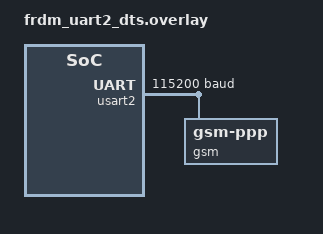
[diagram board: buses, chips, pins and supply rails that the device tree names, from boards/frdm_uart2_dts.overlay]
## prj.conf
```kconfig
# Copyright (c) 2021 Nordic Semiconductor ASA
# SPDX-License-Identifier: Apache-2.0
#
# This file contains selected Kconfig options for the application.

CONFIG_CONSOLE=y
CONFIG_I2C=y
CONFIG_GPIO=y
#CONFIG_ADC=y
CONFIG_SENSOR=y
#CONFIG_VL53L0X_PROXIMITY_THRESHOLD=100
CONFIG_CBPRINTF_FP_SUPPORT=y
#CONFIG_MPU6050_TRIGGER_NONE=y

# UART support
#CONFIG_SERIAL=y

## GSM modem support
#CONFIG_MODEM=y
#CONFIG_MODEM_GSM_PPP=y
#
### PPP networking support
#CONFIG_NET_DRIVERS=y
#CONFIG_NET_PPP=y
#CONFIG_NET_L2_PPP=y
#CONFIG_NET_NATIVE=y
#CONFIG_NETWORKING=y
#
#CONFIG_NET_L2_PPP_TIMEOUT=10000
#
### IPv4 enables PPP IPCP support
#CONFIG_NET_IPV4=y
#CONFIG_NET_IPV6=n
#
### Network management events
#CONFIG_NET_CONNECTION_MANAGER=y
#
### Log buffers, modem and PPP
#CONFIG_LOG=y
#CONFIG_NET_LOG=y
##CONFIG_LOG_BUFFER_SIZE=16384
##CONFIG_MODEM_LOG_LEVEL_DBG=y
##CONFIG_NET_PPP_LOG_LEVEL_DBG=y
##CONFIG_NET_L2_PPP_LOG_LEVEL_DBG=y
##CONFIG_NET_MGMT_EVENT_LOG_LEVEL_DBG=y
##CONFIG_NET_CONNECTION_MANAGER_LOG_LEVEL_DBG=y
#
#CONFIG_NET_SHELL=y
#CONFIG_MODEM_SHELL=y
#
#CONFIG_TEST_RANDOM_GENERATOR=y
#CONFIG_GSM_MUX=y
#CONFIG_UART_MUX=y

# LORA support
CONFIG_SPI=y
CONFIG_LORA=y
CONFIG_LORA_SX12XX=y
CONFIG_PRINTK=y
```

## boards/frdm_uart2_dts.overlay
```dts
/*
 * UART 2 is configured on FRDM pins PTD0, rts; PTD1, cts; PTD2, rx; PTD3, tx
 * see https://www.nxp.com/docs/en/data-sheet/K64P144M120SF5.pdf chapter 5.1,
 * page 74
 */
&usart2 {
	status = "okay";
	current-speed = <115200>;
	gsm: gsm-modem {
		compatible = "zephyr,gsm-ppp";
	};
};
```

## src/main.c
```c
lora_send.c
```

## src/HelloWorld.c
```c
/*
 * Copyright (c) 2016 Intel Corporation
 *
 * SPDX-License-Identifier: Apache-2.0
 */

#include <zephyr/kernel.h>
#include <zephyr/drivers/gpio.h>

/* 1000 msec = 1 sec */
#define SLEEP_TIME_MS   100

/* The devicetree node identifier for the "led0" alias. */
#define LED0_NODE DT_ALIAS(led0)

/*
 * A build error on this line means your board is unsupported.
 * See the sample documentation for information on how to fix this.
 */
static const struct gpio_dt_spec led = GPIO_DT_SPEC_GET(LED0_NODE, gpios);

void main(void)
{
	int ret;
	int i;
	i = 0;

	if (!device_is_ready(led.port)) {
		return;
	}

	ret = gpio_pin_configure_dt(&led, GPIO_OUTPUT_ACTIVE);
	if (ret < 0) {
		return;
	}

	while (1) {
		ret = gpio_pin_toggle_dt(&led);
		if (ret < 0) {
			return;
		}
		printk("Hello %d \n", i++);
		k_msleep(SLEEP_TIME_MS);
	}
}
```

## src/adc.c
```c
/*
 * Copyright (c) 2020 Libre Solar Technologies GmbH
 *
 * SPDX-License-Identifier: Apache-2.0
 */

#include <inttypes.h>
#include <stddef.h>
#include <stdint.h>

#include <zephyr/device.h>
#include <zephyr/devicetree.h>
#include <zephyr/drivers/adc.h>
#include <zephyr/kernel.h>
#include <zephyr/sys/printk.h>
#include <zephyr/sys/util.h>


#if !DT_NODE_EXISTS(DT_PATH(zephyr_user)) || \
	!DT_NODE_HAS_PROP(DT_PATH(zephyr_user), io_channels)
#error "No suitable devicetree overlay specified"
#endif

#define DT_SPEC_AND_COMMA(node_id, prop, idx) \
	ADC_DT_SPEC_GET_BY_IDX(node_id, idx),

/* Data of ADC io-channels specified in devicetree. */
static const struct adc_dt_spec adc_channels[] = {
	DT_FOREACH_PROP_ELEM(DT_PATH(zephyr_user), io_channels,
			     DT_SPEC_AND_COMMA)
};

void main(void)
{
	int err;
	int16_t buf;
	struct adc_sequence sequence = {
		.buffer = &buf,
		/* buffer size in bytes, not number of samples */
		.buffer_size = sizeof(buf),
	};



	/* Configure channels individually prior to sampling. */
	for (size_t i = 0U; i < ARRAY_SIZE(adc_channels); i++) {
		if (!device_is_ready(adc_channels[i].dev)) {
			printk("ADC controller device not ready\n");
			return;
		}

		err = adc_channel_setup_dt(&adc_channels[i]);
		if (err < 0) {
			printk("Could not setup channel #%d (%d)\n", i, err);
			return;
		}
	}

	while (1) {
		printk("ADC reading:\n");
		for (size_t i = 0U; i < ARRAY_SIZE(adc_channels); i++) {
			int32_t val_mv;

			printk("- %s, channel %d: ",
			       adc_channels[i].dev->name,
			       adc_channels[i].channel_id);

			(void)adc_sequence_init_dt(&adc_channels[i], &sequence);

			err = adc_read(adc_channels[i].dev, &sequence);
			if (err < 0) {
				printk("Could not read (%d)\n", err);
				continue;
			} else {
				printk("%"PRId16, buf);
			}

			/* conversion to mV may not be supported, skip if not */
			val_mv = buf;
			err = adc_raw_to_millivolts_dt(&adc_channels[i],
						       &val_mv);
			if (err < 0) {
				printk(" (value in mV not available)\n");
			} else {
				printk(" = %"PRId32" mV\n", val_mv);
			}
		}

		k_sleep(K_MSEC(100));
	}
}
```

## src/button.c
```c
/*
 * Copyright (c) 2016 Open-RnD Sp. z o.o.
 * Copyright (c) 2020 Nordic Semiconductor ASA
 *
 * SPDX-License-Identifier: Apache-2.0
 */

#include <zephyr/kernel.h>
#include <zephyr/device.h>
#include <zephyr/drivers/gpio.h>
#include <zephyr/sys/util.h>
#include <zephyr/sys/printk.h>
#include <inttypes.h>

#define SLEEP_TIME_MS	1

/*
 * Get button configuration from the devicetree sw0 alias. This is mandatory.
 */
#define SW0_NODE	DT_ALIAS(sw0)
#if !DT_NODE_HAS_STATUS(SW0_NODE, okay)
#error "Unsupported board: sw0 devicetree alias is not defined"
#endif
static const struct gpio_dt_spec button = GPIO_DT_SPEC_GET_OR(SW0_NODE, gpios,
							      {0});
static struct gpio_callback button_cb_data;

/*
 * The led0 devicetree alias is optional. If present, we'll use it
 * to turn on the LED whenever the button is pressed.
 */
static struct gpio_dt_spec led = GPIO_DT_SPEC_GET_OR(DT_ALIAS(led0), gpios,
						     {0});

void button_pressed(const struct device *dev, struct gpio_callback *cb,
		    uint32_t pins)
{
	printk("Button pressed at %" PRIu32 "\n", k_cycle_get_32());
}

void main(void)
{
	int ret;

	if (!gpio_is_ready_dt(&button)) {
		printk("Error: button device %s is not ready\n",
		       button.port->name);
		return;
	}

	ret = gpio_pin_configure_dt(&button, GPIO_INPUT);
	if (ret != 0) {
		printk("Error %d: failed to configure %s pin %d\n",
		       ret, button.port->name, button.pin);
		return;
	}

	ret = gpio_pin_interrupt_configure_dt(&button,
					      GPIO_INT_EDGE_TO_ACTIVE);
	if (ret != 0) {
		printk("Error %d: failed to configure interrupt on %s pin %d\n",
			ret, button.port->name, button.pin);
		return;
	}

	gpio_init_callback(&button_cb_data, button_pressed, BIT(button.pin));
	gpio_add_callback(button.port, &button_cb_data);
	printk("Set up button at %s pin %d\n", button.port->name, button.pin);

	if (led.port && !device_is_ready(led.port)) {
		printk("Error %d: LED device %s is not ready; ignoring it\n",
		       ret, led.port->name);
		led.port = NULL;
	}
	if (led.port) {
		ret = gpio_pin_configure_dt(&led, GPIO_OUTPUT);
		if (ret != 0) {
			printk("Error %d: failed to configure LED device %s pin %d\n",
			       ret, led.port->name, led.pin);
			led.port = NULL;
		} else {
			printk("Set up LED at %s pin %d\n", led.port->name, led.pin);
		}
	}

	printk("Press the button\n");
	if (led.port) {
		while (1) {
			/* If we have an LED, match its state to the button's. */
			int val = gpio_pin_get_dt(&button);
			if (val >= 0) {
				gpio_pin_set_dt(&led, val);
			}
			k_msleep(SLEEP_TIME_MS);
		}
	}
}
```

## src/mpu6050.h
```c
/*
 * Copyright (c) 2019 Nordic Semiconductor ASA
 *
 * SPDX-License-Identifier: Apache-2.0
 */

#include <zephyr/kernel.h>
#include <zephyr/device.h>
#include <zephyr/drivers/sensor.h>
#include <stdio.h>

static const char *now_str(void)
{
	static char buf[16]; /* ...HH:MM:SS.MMM */
	uint32_t now = k_uptime_get_32();
	unsigned int ms = now % MSEC_PER_SEC;
	unsigned int s;
	unsigned int min;
	unsigned int h;

	now /= MSEC_PER_SEC;
	s = now % 60U;
	now /= 60U;
	min = now % 60U;
	now /= 60U;
	h = now;

	snprintf(buf, sizeof(buf), "%u:%02u:%02u.%03u",
		 h, min, s, ms);
	return buf;
}

static int process_mpu6050(const struct device *dev)
{
	struct sensor_value temperature;
	struct sensor_value accel[3];
	struct sensor_value gyro[3];
	int rc = sensor_sample_fetch(dev);

	if (rc == 0) {
		rc = sensor_channel_get(dev, SENSOR_CHAN_ACCEL_XYZ,
					accel);
	}
	if (rc == 0) {
		rc = sensor_channel_get(dev, SENSOR_CHAN_GYRO_XYZ,
					gyro);
	}
	if (rc == 0) {
		rc = sensor_channel_get(dev, SENSOR_CHAN_AMBIENT_TEMP,
					&temperature);
	}
	if (rc == 0) {
		printf("[%s]:%g Cel\n"
		       "  accel %f %f %f m/s/s\n"
		       "  gyro  %f %f %f rad/s\n",
		       now_str(),
		       sensor_value_to_double(&temperature),
		       sensor_value_to_double(&accel[0]),
		       sensor_value_to_double(&accel[1]),
		       sensor_value_to_double(&accel[2]),
		       sensor_value_to_double(&gyro[0]),
		       sensor_value_to_double(&gyro[1]),
		       sensor_value_to_double(&gyro[2]));
	} else {
		printf("sample fetch/get failed: %d\n", rc);
	}

	return rc;
}

#ifdef CONFIG_MPU6050_TRIGGER
static struct sensor_trigger trigger;

static void handle_mpu6050_drdy(const struct device *dev,
				const struct sensor_trigger *trig)
{
	int rc = process_mpu6050(dev);

	if (rc != 0) {
		printf("cancelling trigger due to failure: %d\n", rc);
		(void)sensor_trigger_set(dev, trig, NULL);
		return;
	}
}
#endif /* CONFIG_MPU6050_TRIGGER */
```

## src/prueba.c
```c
/*
 * Copyright (c) 2019 Nordic Semiconductor ASA
 *
 * SPDX-License-Identifier: Apache-2.0
 */

#include <zephyr/kernel.h>
#include <zephyr/device.h>
#include <zephyr/drivers/sensor.h>
#include <stdio.h>
#include <zephyr/sys/printk.h>
#include <mpu6050.h>


void main(void)
{
	const struct device *const mpu6050 = DEVICE_DT_GET_ONE(invensense_mpu6050);
	const struct device *const vl53l0x = DEVICE_DT_GET_ONE(st_vl53l0x);

	struct sensor_value value;
        int ret;
	
	if (!device_is_ready(mpu6050)) {
		printf("Device %s is not ready\n", mpu6050->name);
	}

	if (!device_is_ready(vl53l0x)) {
                printk("sensor: device not ready.\n");
        }

#ifdef CONFIG_MPU6050_TRIGGER
	trigger = (struct sensor_trigger) {
		.type = SENSOR_TRIG_DATA_READY,
		.chan = SENSOR_CHAN_ALL,
	};
	if (sensor_trigger_set(mpu6050, &trigger,
			       handle_mpu6050_drdy) < 0) {
		printf("Cannot configure trigger\n");
		return;
	}
	printk("Configured for triggered sampling.\n");
#endif

	while (!IS_ENABLED(CONFIG_MPU6050_TRIGGER)) {
		int rc = process_mpu6050(mpu6050);
		
		ret = sensor_sample_fetch(vl53l0x);
		if (ret) {
                        printk("sensor_sample_fetch failed ret %d\n", ret);
                        return;
                }
		ret = sensor_channel_get(vl53l0x, SENSOR_CHAN_PROX, &value);
		
		printk("prox is %d\n", value.val1);
		ret = sensor_channel_get(vl53l0x,
                                         SENSOR_CHAN_DISTANCE,
                                         &value);
		printf("distance is %.3fm\n", sensor_value_to_double(&value));

                k_sleep(K_MSEC(1000));
        


		if (rc != 0) {
			break;
		}
		k_sleep(K_SECONDS(2));
	}

	/* triggered runs with its own thread after exit */
}
```

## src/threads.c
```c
/*
 * Copyright (c) 2017 Linaro Limited
 *
 * SPDX-License-Identifier: Apache-2.0
 */

#include <zephyr/kernel.h>
#include <zephyr/device.h>
#include <zephyr/drivers/gpio.h>
#include <zephyr/sys/printk.h>
#include <zephyr/sys/__assert.h>
#include <string.h>

/* size of stack area used by each thread */
#define STACKSIZE 1024

/* scheduling priority used by each thread */
#define PRIORITY 7

#define LED0_NODE DT_ALIAS(led0)
#define LED1_NODE DT_ALIAS(led1)

#if !DT_NODE_HAS_STATUS(LED0_NODE, okay)
#error "Unsupported board: led0 devicetree alias is not defined"
#endif

#if !DT_NODE_HAS_STATUS(LED1_NODE, okay)
#error "Unsupported board: led1 devicetree alias is not defined"
#endif

struct printk_data_t {
	void *fifo_reserved; /* 1st word reserved for use by fifo */
	uint32_t led;
	uint32_t cnt;
};

K_FIFO_DEFINE(printk_fifo);

struct led {
	struct gpio_dt_spec spec;
	uint8_t num;
};

static const struct led led0 = {
	.spec = GPIO_DT_SPEC_GET_OR(LED0_NODE, gpios, {0}),
	.num = 0,
};

static const struct led led1 = {
	.spec = GPIO_DT_SPEC_GET_OR(LED1_NODE, gpios, {0}),
	.num = 1,
};

void blink(const struct led *led, uint32_t sleep_ms, uint32_t id)
{
	const struct gpio_dt_spec *spec = &led->spec;
	int cnt = 0;
	int ret;

	if (!device_is_ready(spec->port)) {
		printk("Error: %s device is not ready\n", spec->port->name);
		return;
	}

	ret = gpio_pin_configure_dt(spec, GPIO_OUTPUT);
	if (ret != 0) {
		printk("Error %d: failed to configure pin %d (LED '%d')\n",
			ret, spec->pin, led->num);
		return;
	}

	while (1) {
		gpio_pin_set(spec->port, spec->pin, cnt % 2);

		struct printk_data_t tx_data = { .led = id, .cnt = cnt };

		size_t size = sizeof(struct printk_data_t);
		char *mem_ptr = malloc(size);
		__ASSERT_NO_MSG(mem_ptr != 0);

		memcpy(mem_ptr, &tx_data, size);

		k_fifo_put(&printk_fifo, mem_ptr);


		printk("Hello from main loop of the blink function\n");
		k_msleep(sleep_ms);
		cnt++;
	}
}

void blink0(void)
{
	blink(&led0, 100, 0);
}

void blink1(void)
{
	blink(&led1, 200, 1);
}

void uart_out(void)
{
	while (1) {
		struct printk_data_t *rx_data = k_fifo_get(&printk_fifo,
							   K_FOREVER);
		printk("Toggled led%d; counter=%d\n",
		       rx_data->led, rx_data->cnt);
		k_free(rx_data);
	}
}

K_THREAD_DEFINE(blink0_id, STACKSIZE, blink0, NULL, NULL, NULL,
		PRIORITY, 0, 0);
K_THREAD_DEFINE(blink1_id, STACKSIZE, blink1, NULL, NULL, NULL,
		PRIORITY, 0, 0);
K_THREAD_DEFINE(uart_out_id, STACKSIZE, uart_out, NULL, NULL, NULL,
		PRIORITY, 0, 0);
```

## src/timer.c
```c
/*
 * Copyright (c) 2019 Linaro Limited
 *
 * SPDX-License-Identifier: Apache-2.0
 */

#include <zephyr/kernel.h>

#include <zephyr/device.h>
#include <zephyr/drivers/counter.h>
#include <zephyr/sys/printk.h>

#define DELAY 2000000
#define ALARM_CHANNEL_ID 0

struct counter_alarm_cfg alarm_cfg;


/* DT_ALIAS uses aliases defined in the DTS*/
#define TIMER DT_ALIAS(cnt5)
/* DT_NODELABEL uses nodelabels defined in the DTS*/
//#define TIMER DT_NODELABEL(counter5)

/* Notification during compilation */
#if !DT_NODE_EXISTS(TIMER)
#error "timer node does not exist"
#endif

static void test_counter_interrupt_fn(const struct device *counter_dev,
				      uint8_t chan_id, uint32_t ticks,
				      void *user_data)
{
	struct counter_alarm_cfg *config = user_data;
	uint32_t now_ticks;
	uint64_t now_usec;
	int now_sec;
	int err;

	err = counter_get_value(counter_dev, &now_ticks);
	if (err) {
		printk("Failed to read counter value (err %d)", err);
		return;
	}

	now_usec = counter_ticks_to_us(counter_dev, now_ticks);
	now_sec = (int)(now_usec / USEC_PER_SEC);

	printk("!!! Alarm !!!\n");
	printk("Now: %u\n", now_sec);

	/* Set a new alarm with a double length duration */
	config->ticks = config->ticks * 2U;

	printk("Set alarm in %u sec (%u ticks)\n",
	       (uint32_t)(counter_ticks_to_us(counter_dev,
					   config->ticks) / USEC_PER_SEC),
	       config->ticks);

	err = counter_set_channel_alarm(counter_dev, ALARM_CHANNEL_ID,
					user_data);
	if (err != 0) {
		printk("Alarm could not be set\n");
	}
}



void main(void)
{
	const struct device *const counter_dev = DEVICE_DT_GET(TIMER);
	int err;

	printk("Counter alarm sample\n\n");

	if (!device_is_ready(counter_dev)) {
		printk("device not ready.\n");
		return;
	}

	counter_start(counter_dev);

	alarm_cfg.flags = 0;
	alarm_cfg.ticks = counter_us_to_ticks(counter_dev, DELAY);
	alarm_cfg.callback = test_counter_interrupt_fn;
	alarm_cfg.user_data = &alarm_cfg;

	err = counter_set_channel_alarm(counter_dev, ALARM_CHANNEL_ID,
					&alarm_cfg);
	printk("Set alarm in %u sec (%u ticks)\n",
	       (uint32_t)(counter_ticks_to_us(counter_dev,
					   alarm_cfg.ticks) / USEC_PER_SEC),
	       alarm_cfg.ticks);

	if (-EINVAL == err) {
		printk("Alarm settings invalid\n");
	} else if (-ENOTSUP == err) {
		printk("Alarm setting request not supported\n");
	} else if (err != 0) {
		printk("Error\n");
	}

	while (1) {
		k_sleep(K_FOREVER);
	}
}
```
